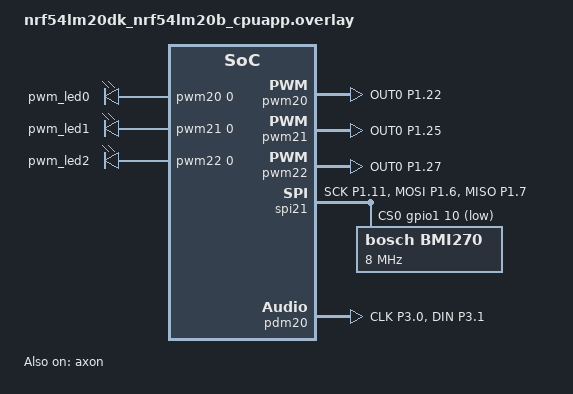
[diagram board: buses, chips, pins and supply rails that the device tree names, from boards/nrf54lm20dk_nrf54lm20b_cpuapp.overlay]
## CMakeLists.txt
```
cmake_minimum_required(VERSION 3.20.0)

find_package(Zephyr REQUIRED HINTS $ENV{ZEPHYR_BASE})
project(game_controller)

target_sources(app PRIVATE
  src/main.c
  src/hw_modules/button.c
  src/gesture/imu/imu.c

  src/ble/ble_nus.c

  src/engine/engine_controller.c
  src/engine/kws_engine.c
  src/engine/gesture_engine.c

  src/gesture/gesture.c
  src/gesture/inference_postprocessing.c
  src/gesture/nrf_edgeai_generated/nrf54lm20dk/Axon/nrf_edgeai_user_model.c

  src/kws/dmic.c
  src/kws/kws.c
  src/kws/Snake_94502_kws/nrf_edgeai_generated/nrf_edgeai_user_model.c

  src/kws/kws_mine.c
  src/kws/Minesweeper2_95233_kws/nrf_edgeai_user_model.c
  src/engine/kws_mine_engine.c
)

# dmic.h / kws.h are referenced as "dmic.h" / "kws.h" from within src/kws;
# common.h is referenced from button.c and the imu module.
target_include_directories(app PRIVATE src src/kws)
target_include_directories(app PRIVATE src/hw_modules)
target_include_directories(app PRIVATE src/gesture/imu)
```

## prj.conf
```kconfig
#
# Copyright (c) 2026 Nordic Semiconductor ASA
#
# SPDX-License-Identifier: LicenseRef-Nordic-5-Clause
#

# nRF Edge AI
CONFIG_NRF_EDGEAI=y

# nRF Edge AI dependencies
CONFIG_NRF_AXON=y
CONFIG_NEWLIB_LIBC=y
CONFIG_NEWLIB_LIBC_FLOAT_PRINTF=y
CONFIG_FPU=y

# Size of interlayer buffer to fit the KWS model (see nrf_edgeai_user_model_axon.h)
CONFIG_NRF_AXON_INTERLAYER_BUFFER_SIZE=8192
CONFIG_NRF_AXON_PSUM_BUFFER_SIZE=0

# DMIC microphone
CONFIG_AUDIO=y
CONFIG_AUDIO_DMIC=y

# Logging and assert
CONFIG_LOG=y
CONFIG_CONSOLE=y
CONFIG_LOG_MODE_DEFERRED=y
CONFIG_SERIAL=y
CONFIG_ASSERT=y


# Keep printk off the deferred-log path so the "Keyword spotted: X" control
# line is emitted synchronously (low latency for the serial game controller).
CONFIG_LOG_PRINTK=n

# On the dongle the console runs over USB CDC ACM; silence the udc_dwc2 INFO
# spam so it does not flood the log and drop application messages. (No effect on
# the DK, which has no USB device controller.)
CONFIG_UDC_DRIVER_LOG_LEVEL_WRN=y

CONFIG_SENSOR=y
CONFIG_BMI270=y
CONFIG_SENSOR_LOG_LEVEL_DBG=y

CONFIG_GPIO=y

# Bluetooth: send game commands over the Nordic UART Service (NUS)
CONFIG_BT=y
CONFIG_BT_PERIPHERAL=y
CONFIG_BT_DEVICE_NAME="Game Controller"
CONFIG_BT_NUS=y

# CONFIG_KWS_ONLY=y 
```

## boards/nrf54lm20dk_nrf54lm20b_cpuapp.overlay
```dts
/*
 * Copyright (c) 2026 Nordic Semiconductor ASA
 *
 * SPDX-License-Identifier: LicenseRef-Nordic-5-Clause
 */

/ {
	aliases {
		pwm-led0 = &pwm_led0;
		pwm-led1 = &pwm_led1;
		pwm-led2 = &pwm_led2;
	};

	pwmleds {
		compatible = "pwm-leds";

		pwm_led0: pwm_led_0 {
			pwms = <&pwm20 0 PWM_MSEC(20) PWM_POLARITY_NORMAL>;
		};

		pwm_led1: pwm_led_1 {
			pwms = <&pwm21 0 PWM_MSEC(20) PWM_POLARITY_NORMAL>;
		};

		pwm_led2: pwm_led_2 {
			pwms = <&pwm22 0 PWM_MSEC(20) PWM_POLARITY_NORMAL>;
		};
	};
};

&pwm20 {
	status = "okay";
	pinctrl-0 = <&pwm20_default_alt>;
	pinctrl-1 = <&pwm20_sleep_alt>;
	pinctrl-names = "default", "sleep";
};

&pwm21 {
	status = "okay";
	pinctrl-0 = <&pwm21_default_alt>;
	pinctrl-1 = <&pwm21_sleep_alt>;
	pinctrl-names = "default", "sleep";
};

&pwm22 {
	status = "okay";
	pinctrl-0 = <&pwm22_default_alt>;
	pinctrl-1 = <&pwm22_sleep_alt>;
	pinctrl-names = "default", "sleep";
};

&pinctrl {
	pwm20_default_alt: pwm20_default_alt {
		group1 {
			psels = <NRF_PSEL(PWM_OUT0, 1, 22)>;
		};
	};

	pwm20_sleep_alt: pwm20_sleep_alt {
		group1 {
			psels = <NRF_PSEL(PWM_OUT0, 1, 22)>;
			low-power-enable;
		};
	};

	pwm21_default_alt: pwm21_default_alt {
		group1 {
			psels = <NRF_PSEL(PWM_OUT0, 1, 25)>;
		};
	};

	pwm21_sleep_alt: pwm21_sleep_alt {
		group1 {
			psels = <NRF_PSEL(PWM_OUT0, 1, 25)>;
			low-power-enable;
		};
	};

	pwm22_default_alt: pwm22_default_alt {
		group1 {
			psels = <NRF_PSEL(PWM_OUT0, 1, 27)>;
		};
	};

	pwm22_sleep_alt: pwm22_sleep_alt {
		group1 {
			psels = <NRF_PSEL(PWM_OUT0, 1, 27)>;
			low-power-enable;
		};
	};

	spi21_default: spi21_default {
		group1 {
			psels = <NRF_PSEL(SPIM_SCK, 1, 11)>,
				<NRF_PSEL(SPIM_MOSI, 1, 6)>,
				<NRF_PSEL(SPIM_MISO, 1, 7)>;
		};
	};

	spi21_sleep: spi21_sleep {
		group1 {
			psels = <NRF_PSEL(SPIM_SCK, 1, 11)>,
				<NRF_PSEL(SPIM_MOSI, 1, 6)>,
				<NRF_PSEL(SPIM_MISO, 1, 7)>;
			low-power-enable;
		};
	};

	pdm20_default_alt: pdm20_default_alt {
		group1 {
			psels = <NRF_PSEL(PDM_CLK, 3, 0)>,
				<NRF_PSEL(PDM_DIN, 3, 1)>;
		};
	};
};

&gpio3 {
	status = "okay";
};

&gpio1 {
	status = "okay";
};

&spi21 {
	compatible = "nordic,nrf-spim";
	status = "okay";
	pinctrl-0 = <&spi21_default>;
	pinctrl-1 = <&spi21_sleep>;
	pinctrl-names = "default", "sleep";
	cs-gpios = <&gpio1 10 GPIO_ACTIVE_LOW>;

	bmi270: spi-dev-bmi270@0 {
		compatible = "bosch,bmi270";
		status = "okay";
		reg = <0>;
		spi-max-frequency = <DT_FREQ_M(8)>;
		//irq-gpios = <&gpio3 2 (GPIO_ACTIVE_HIGH | GPIO_PULL_DOWN)>;
	};
};

dmic_dev: &pdm20 {
	status = "okay";
	pinctrl-0 = <&pdm20_default_alt>;
	pinctrl-names = "default";
	clock-source = "PCLK32M";
};

&axon {
	status = "okay";
};
```

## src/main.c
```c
/*
 * Copyright (c) 2026 Nordic Semiconductor ASA
 *
 * SPDX-License-Identifier: LicenseRef-Nordic-5-Clause
 *
 * @brief Game controller entry point.
 *
 * Brings up the inference engines and the buttons, then hands control to the
 * engine controller. Each engine owns its own model and acquisition path; one
 * runs at a time.
 *
 * A short click picks a game *and* the engine that will drive it, and tells the
 * host which game to open (relayed to the host's menu as a MENU: token):
 *
 *   btn0  Snake, driven by voice           KWS       -> MENU:SNAKE
 *   btn1  Snake, driven by swipe gestures  Gesture   -> MENU:SNAKE
 *   btn2  Minesweeper, driven by voice     KWS_MINE  -> MENU:MINESWEEPER
 *
 * Snake deliberately sits on two buttons: the host does not care which engine
 * feeds it, since both emit the same UP/DOWN/LEFT/RIGHT commands, so picking
 * the engine is entirely this side's business.
 *
 * A long click on any button sends MENU:BACK, which the host reads as "leave
 * this screen" (Main Menu on the game-over screen). The active engine is left
 * alone, since the next game choice sets it anyway.
 *
 * The quiz is played with the finger_digits controller, not this application,
 * so no button here selects it -- the host menu still accepts MENU:QUIZ from
 * that board.
 */

#include <zephyr/logging/log.h>

#include "ble/ble_nus.h"
#include "hw_modules/button.h"
#include "engine/engine.h"
#include "engine/engine_controller.h"
#include "hw_modules/leds.h"

LOG_MODULE_REGISTER(main);

/**
 * @brief Switch to @p engine_name, then ask the host to open @p menu_token.
 *
 * Nothing is sent if the engine is unavailable (e.g. the gesture engine on a
 * board with no IMU wired up), so the host never opens a game that has no
 * working input source; the currently active engine keeps running.
 */
static void start_game(const char *engine_name, const char *menu_token)
{
	int err = engine_request_select(engine_name);

	if (err) {
		LOG_WRN("Cannot start game on engine '%s' (err %d)", engine_name, err);
		return;
	}

	(void)ble_nus_send_raw(menu_token);
}

static void on_button_click(uint8_t button_id, button_click_t click)
{
	if (click == BUTTON_CLICK_LONG) {
		/* Back out of the host's current screen; engine unchanged. */
		(void)ble_nus_send_raw("MENU:BACK\r\n");
		return;
	}

	switch (button_id) {
	case 0:
		start_game(ENGINE_NAME_KWS, "MENU:SNAKE_VOICE\r\n");
		break;
	case 1:
		start_game(ENGINE_NAME_GESTURE, "MENU:SNAKE_GESTURE\r\n");
		break;
	case 2:
		start_game(ENGINE_NAME_KWS_MINE, "MENU:MINESWEEPER\r\n");
		break;
	case 3:
		/* Back to the host menu; engine unchanged. */
		(void)ble_nus_send_raw("MENU:BACK\r\n");
		break;
	default:
		LOG_WRN("Ukjent knapp: %u", button_id);
		break;
	}
}
int main(void)
{
	int err;

	err = engine_controller_init();
	if (err) {
		LOG_ERR("Engine controller init failed (err %d)", err);
		return err;
	}

	err = button_init();
	if (err) {
		LOG_ERR("Button init failed (err %d)", err);
		return err;
	}
	button_reg_click_handler(on_button_click);
	err = leds_init();
	if (err) {
		LOG_ERR("LED init failed (err %d)", err);
		return err;
	}
	err = ble_nus_init();
	if (err) {
		LOG_ERR("BLE NUS init failed (err %d)", err);
		return err;
	}

	/* 	Runs the active engine and switches between them on request
		Function is a while loop. */
	engine_controller_run();

	return 0;
}
```
